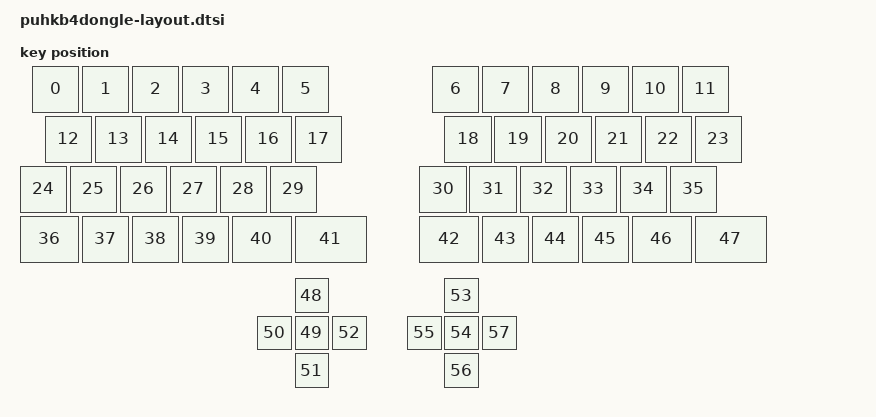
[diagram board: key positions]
#include <physical_layouts.dtsi>

/ {
    physical_layout0: physical_layout_0 {
        compatible = "zmk,physical-layout";
        display-name = "6x4+5";
        kscan = <&kscan0>;
        transform = <&matrix_transform0>;

        keys  //                     w   h    x    y     rot    rx    ry
            = <&key_physical_attrs 100 100   25    0       0     0     0>
            , <&key_physical_attrs 100 100  125    0       0     0     0>
            , <&key_physical_attrs 100 100  225    0       0     0     0>
            , <&key_physical_attrs 100 100  325    0       0     0     0>
            , <&key_physical_attrs 100 100  425    0       0     0     0>
            , <&key_physical_attrs 100 100  525    0       0     0     0>
            , <&key_physical_attrs 100 100  825    0       0     0     0>
            , <&key_physical_attrs 100 100  925    0       0     0     0>
            , <&key_physical_attrs 100 100 1025    0       0     0     0>
            , <&key_physical_attrs 100 100 1125    0       0     0     0>
            , <&key_physical_attrs 100 100 1225    0       0     0     0>
            , <&key_physical_attrs 100 100 1325    0       0     0     0>
            , <&key_physical_attrs 100 100   50  100       0     0     0>
            , <&key_physical_attrs 100 100  150  100       0     0     0>
            , <&key_physical_attrs 100 100  250  100       0     0     0>
            , <&key_physical_attrs 100 100  350  100       0     0     0>
            , <&key_physical_attrs 100 100  450  100       0     0     0>
            , <&key_physical_attrs 100 100  550  100       0     0     0>
            , <&key_physical_attrs 100 100  850  100       0     0     0>
            , <&key_physical_attrs 100 100  950  100       0     0     0>
            , <&key_physical_attrs 100 100 1050  100       0     0     0>
            , <&key_physical_attrs 100 100 1150  100       0     0     0>
            , <&key_physical_attrs 100 100 1250  100       0     0     0>
            , <&key_physical_attrs 100 100 1350  100       0     0     0>
            , <&key_physical_attrs 100 100    0  200       0     0     0>
            , <&key_physical_attrs 100 100  100  200       0     0     0>
            , <&key_physical_attrs 100 100  200  200       0     0     0>
            , <&key_physical_attrs 100 100  300  200       0     0     0>
            , <&key_physical_attrs 100 100  400  200       0     0     0>
            , <&key_physical_attrs 100 100  500  200       0     0     0>
            , <&key_physical_attrs 100 100  800  200       0     0     0>
            , <&key_physical_attrs 100 100  900  200       0     0     0>
            , <&key_physical_attrs 100 100 1000  200       0     0     0>
            , <&key_physical_attrs 100 100 1100  200       0     0     0>
            , <&key_physical_attrs 100 100 1200  200       0     0     0>
            , <&key_physical_attrs 100 100 1300  200       0     0     0>
            , <&key_physical_attrs 125 100    0  300       0     0     0>
            , <&key_physical_attrs 100 100  125  300       0     0     0>
            , <&key_physical_attrs 100 100  225  300       0     0     0>
            , <&key_physical_attrs 100 100  325  300       0     0     0>
            , <&key_physical_attrs 125 100  425  300       0     0     0>
            , <&key_physical_attrs 150 100  550  300       0     0     0>
            , <&key_physical_attrs 125 100  800  300       0     0     0>
            , <&key_physical_attrs 100 100  925  300       0     0     0>
            , <&key_physical_attrs 100 100 1025  300       0     0     0>
            , <&key_physical_attrs 100 100 1125  300       0     0     0>
            , <&key_physical_attrs 125 100 1225  300       0     0     0>
            , <&key_physical_attrs 150 100 1350  300       0     0     0>
            , <&key_physical_attrs  75  75  550  425       0     0     0>
            , <&key_physical_attrs  75  75  550  500       0     0     0>
            , <&key_physical_attrs  75  75  475  500       0     0     0>
            , <&key_physical_attrs  75  75  550  575       0     0     0>
            , <&key_physical_attrs  75  75  625  500       0     0     0>
            , <&key_physical_attrs  75  75  850  425       0     0     0>
            , <&key_physical_attrs  75  75  850  500       0     0     0>
            , <&key_physical_attrs  75  75  775  500       0     0     0>
            , <&key_physical_attrs  75  75  850  575       0     0     0>
            , <&key_physical_attrs  75  75  925  500       0     0     0>
            ;
    };

    position_map {
        compatible = "zmk,physical-layout-position-map";

        complete;

        physical_layout0 {
            physical-layout = <&physical_layout0>;
            positions =			
				<0  1  2  3  4  5      6  7  8  9  10 11>,
				<12 13 14 15 16 17     18 19 20 21 22 23>,
				<24 25 26 27 28 29     30 31 32 33 34 35>,
				<36 37 38 39 40 41     42 43 44 45 46 47>,
				<   48 49 50 51 52     53 54 55 56 57>;
        };
    };
};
